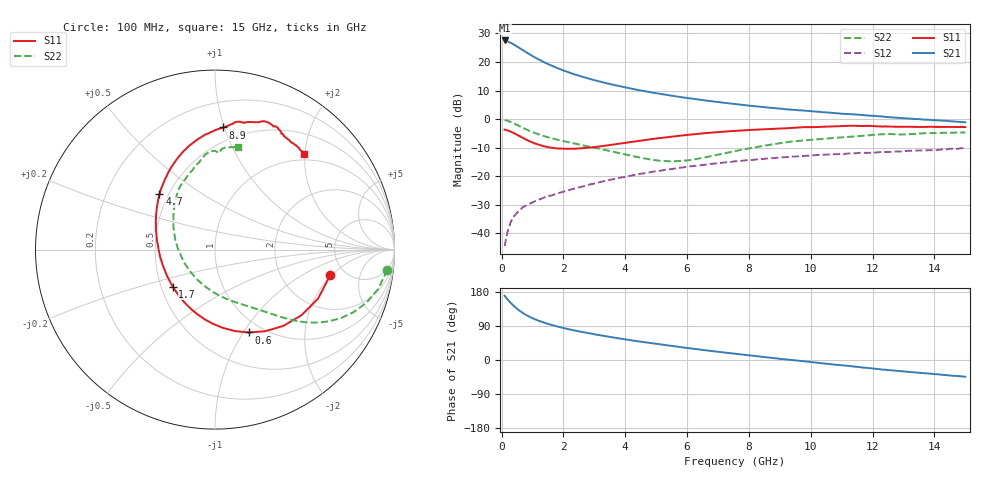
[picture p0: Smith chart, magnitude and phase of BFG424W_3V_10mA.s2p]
! Filename BFG424W_3V_10mA.prm
! Simulation_Values
!	! Created	by	janssen	on	Thu	Sep	15	10:02:03	WETDST	2005
!	Column ranking S11, S21,S12,S22 both magnitude and phase.
!	VCE	=	3	V,	IC	=	10	mA
!	Common	Emitter	S-Parameters
#	GHz	S	MA	R	50
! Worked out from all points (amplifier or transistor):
!   150 points, 100 MHz to 15 GHz, reference 50 ohm
!   highest |S21| = 27.6 dB at 100 MHz (marker M1)
!   |S21| within 3 dB of that: start of sweep to 633 MHz
!   unconditionally stable (mu >= 1): 1.81 GHz to end of sweep
!   at 2.6 GHz: K = 1.16, MAG = 16.8 dB, |S12| = -23.6 dB
!   at 7.6 GHz: K = 1.17, MAG = 7.5 dB, |S12| = -14.7 dB
!   at 15 GHz: K = 1.13, MAG = 2.4 dB, |S12| = -10.2 dB
!   S11 on the Smith chart (normalised r, x): 100 MHz: 3.80, -1.93; 600 MHz: 0.86, -1.06; 1.7 GHz: 0.58, -0.26; 4.7 GHz: 0.45, +0.34; 8.9 GHz: 0.39, +0.99; 15 GHz: 0.87, +1.98
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0.1  0.657 -12.7  23.88 169.4  0.006 87.8  0.966 -6.7
0.2  0.636 -25.4  22.97 159.5  0.011 78.0  0.936 -13.5
0.3  0.605 -37.1  21.63 150.5  0.016 73.6  0.894 -19.4
0.4  0.571 -48.1  20.23 142.5  0.02 68.8  0.845 -24.5
0.5  0.534 -58.4  18.77 135.3  0.023 65.4  0.796 -28.8
0.6  0.499 -67.7  17.36 129.0  0.026 63.0  0.747 -32.4
0.7  0.467 -76.3  16.02 123.5  0.029 61.2  0.703 -35.3
0.8  0.438 -84.3  14.81 118.7  0.031 60.2  0.664 -37.8
0.9  0.413 -91.8  13.73 114.3  0.033 59.3  0.627 -39.8
1.1  0.373 -105.3  11.89 106.9  0.037 58.7  0.568 -43.2
1.4  0.334 -123.2  9.802 97.9  0.043 58.5  0.501 -47.0
1.7  0.313 -138.8  8.283 90.6  0.048 59.3  0.452 -50.5
2.1  0.303 -156.8  6.822 82.6  0.056 60.0  0.402 -55.2
2.6  0.31 -175.6  5.554 74.0  0.066 60.5  0.351 -61.9
3.5  0.353 159.0  4.134 60.9  0.087 60.0  0.278 -78.0
4.7  0.437 135.0  3.041 46.0  0.115 55.9  0.202 -112.4
5.1  0.466 128.4  2.787 41.5  0.125 54.1  0.188 -128.1
7.6  0.628 97.7  1.829 15.8  0.184 40.1  0.28 146.1
8.9  0.682 86.2  1.547 4.2  0.211 32.3  0.373 124.6
10.1  0.726 76.9  1.365 -6.1  0.235 24.0  0.441 109.9
12.6  0.741 58.9  1.081 -27.2  0.268 8.5  0.548 89.3
15  0.728 47.0  0.883 -44.1  0.31 -5.6  0.586 77.6
